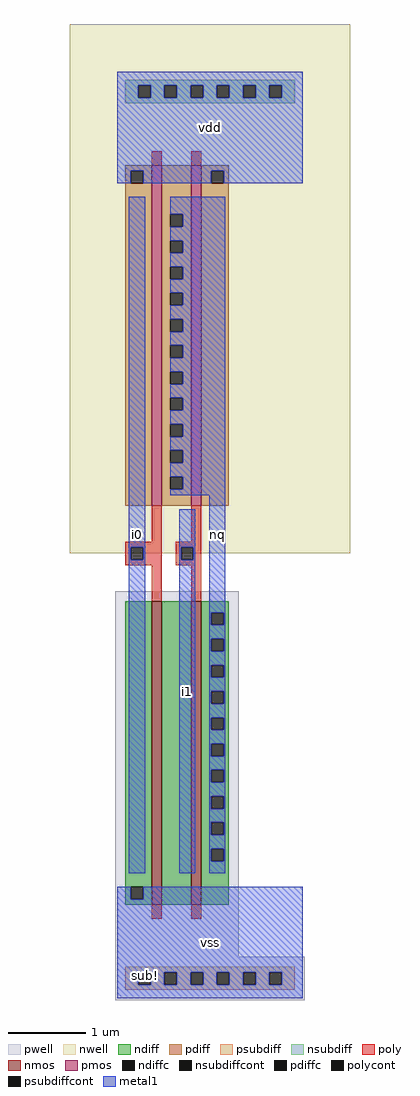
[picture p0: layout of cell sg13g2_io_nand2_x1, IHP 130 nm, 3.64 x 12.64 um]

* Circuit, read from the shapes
.subckt sg13g2_io_nand2_x1 vdd vss nq i0 i1
XM1 n1 i0 vss vss sg13_lv_nmos w=3.93u l=0.13u
XM2 nq i1 n1 vss sg13_lv_nmos w=3.93u l=0.13u
XM3 nq i0 vdd vdd sg13_lv_pmos w=4.41u l=0.13u
XM4 vdd i1 nq vdd sg13_lv_pmos w=4.41u l=0.13u
.ends

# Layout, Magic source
magic
tech ihp-sg13g2
magscale 1 2
<< nwell >>
rect -124 1152 604 2524
<< pwell >>
rect -5 107 315 1054
rect -5 -5 485 107
<< nmos >>
rect 89 242 115 1028
rect 191 242 217 1028
<< pmos >>
rect 89 1276 115 2158
rect 191 1276 217 2158
<< ndiff >>
rect 21 288 89 1028
rect 21 256 35 288
rect 67 256 89 288
rect 21 242 89 256
rect 115 242 191 1028
rect 217 999 289 1028
rect 217 967 243 999
rect 275 967 289 999
rect 217 931 289 967
rect 217 899 243 931
rect 275 899 289 931
rect 217 863 289 899
rect 217 831 243 863
rect 275 831 289 863
rect 217 795 289 831
rect 217 763 243 795
rect 275 763 289 795
rect 217 727 289 763
rect 217 695 243 727
rect 275 695 289 727
rect 217 659 289 695
rect 217 627 243 659
rect 275 627 289 659
rect 217 591 289 627
rect 217 559 243 591
rect 275 559 289 591
rect 217 523 289 559
rect 217 491 243 523
rect 275 491 289 523
rect 217 455 289 491
rect 217 423 243 455
rect 275 423 289 455
rect 217 387 289 423
rect 217 355 243 387
rect 275 355 289 387
rect 217 242 289 355
<< pdiff >>
rect 21 2144 89 2158
rect 21 2112 35 2144
rect 67 2112 89 2144
rect 21 1276 89 2112
rect 115 2031 191 2158
rect 115 1999 137 2031
rect 169 1999 191 2031
rect 115 1963 191 1999
rect 115 1931 137 1963
rect 169 1931 191 1963
rect 115 1895 191 1931
rect 115 1863 137 1895
rect 169 1863 191 1895
rect 115 1827 191 1863
rect 115 1795 137 1827
rect 169 1795 191 1827
rect 115 1759 191 1795
rect 115 1727 137 1759
rect 169 1727 191 1759
rect 115 1691 191 1727
rect 115 1659 137 1691
rect 169 1659 191 1691
rect 115 1623 191 1659
rect 115 1591 137 1623
rect 169 1591 191 1623
rect 115 1555 191 1591
rect 115 1523 137 1555
rect 169 1523 191 1555
rect 115 1487 191 1523
rect 115 1455 137 1487
rect 169 1455 191 1487
rect 115 1419 191 1455
rect 115 1387 137 1419
rect 169 1387 191 1419
rect 115 1351 191 1387
rect 115 1319 137 1351
rect 169 1319 191 1351
rect 115 1276 191 1319
rect 217 2144 289 2158
rect 217 2112 243 2144
rect 275 2112 289 2144
rect 217 1276 289 2112
<< ndiffc >>
rect 35 256 67 288
rect 243 967 275 999
rect 243 899 275 931
rect 243 831 275 863
rect 243 763 275 795
rect 243 695 275 727
rect 243 627 275 659
rect 243 559 275 591
rect 243 491 275 523
rect 243 423 275 455
rect 243 355 275 387
<< pdiffc >>
rect 35 2112 67 2144
rect 137 1999 169 2031
rect 137 1931 169 1963
rect 137 1863 169 1895
rect 137 1795 169 1827
rect 137 1727 169 1759
rect 137 1659 169 1691
rect 137 1591 169 1623
rect 137 1523 169 1555
rect 137 1455 169 1487
rect 137 1387 169 1419
rect 137 1319 169 1351
rect 243 2112 275 2144
<< psubdiff >>
rect 21 67 459 81
rect 21 35 54 67
rect 86 35 122 67
rect 154 35 190 67
rect 222 35 258 67
rect 290 35 326 67
rect 358 35 394 67
rect 426 35 459 67
rect 21 21 459 35
<< nsubdiff >>
rect 21 2365 459 2379
rect 21 2333 54 2365
rect 86 2333 122 2365
rect 154 2333 190 2365
rect 222 2333 258 2365
rect 290 2333 326 2365
rect 358 2333 394 2365
rect 426 2333 459 2365
rect 21 2319 459 2333
<< psubdiffcont >>
rect 54 35 86 67
rect 122 35 154 67
rect 190 35 222 67
rect 258 35 290 67
rect 326 35 358 67
rect 394 35 426 67
<< nsubdiffcont >>
rect 54 2333 86 2365
rect 122 2333 154 2365
rect 190 2333 222 2365
rect 258 2333 290 2365
rect 326 2333 358 2365
rect 394 2333 426 2365
<< poly >>
rect 89 2158 115 2194
rect 191 2158 217 2194
rect 89 1182 115 1276
rect 191 1182 217 1276
rect 21 1168 115 1182
rect 21 1136 35 1168
rect 67 1136 115 1168
rect 21 1122 115 1136
rect 151 1168 217 1182
rect 151 1136 165 1168
rect 197 1136 217 1168
rect 151 1122 217 1136
rect 89 1028 115 1122
rect 191 1028 217 1122
rect 89 206 115 242
rect 191 206 217 242
<< polycont >>
rect 35 1136 67 1168
rect 165 1136 197 1168
<< metal1 >>
rect 0 2365 480 2400
rect 0 2333 54 2365
rect 86 2333 122 2365
rect 154 2333 190 2365
rect 222 2333 258 2365
rect 290 2333 326 2365
rect 358 2333 394 2365
rect 426 2333 480 2365
rect 0 2144 480 2333
rect 0 2112 35 2144
rect 67 2112 243 2144
rect 275 2112 480 2144
rect 30 1168 72 2076
rect 137 2031 280 2076
rect 169 1999 280 2031
rect 137 1963 280 1999
rect 169 1931 280 1963
rect 137 1895 280 1931
rect 169 1863 280 1895
rect 137 1827 280 1863
rect 169 1795 280 1827
rect 137 1759 280 1795
rect 169 1727 280 1759
rect 137 1691 280 1727
rect 169 1659 280 1691
rect 137 1623 280 1659
rect 169 1591 280 1623
rect 137 1555 280 1591
rect 169 1523 280 1555
rect 137 1487 280 1523
rect 169 1455 280 1487
rect 137 1419 280 1455
rect 169 1387 280 1419
rect 137 1351 280 1387
rect 169 1319 280 1351
rect 137 1303 280 1319
rect 30 1136 35 1168
rect 67 1136 72 1168
rect 30 324 72 1136
rect 160 1168 202 1267
rect 160 1136 165 1168
rect 197 1136 202 1168
rect 160 324 202 1136
rect 238 999 280 1303
rect 238 967 243 999
rect 275 967 280 999
rect 238 931 280 967
rect 238 899 243 931
rect 275 899 280 931
rect 238 863 280 899
rect 238 831 243 863
rect 275 831 280 863
rect 238 795 280 831
rect 238 763 243 795
rect 275 763 280 795
rect 238 727 280 763
rect 238 695 243 727
rect 275 695 280 727
rect 238 659 280 695
rect 238 627 243 659
rect 275 627 280 659
rect 238 591 280 627
rect 238 559 243 591
rect 275 559 280 591
rect 238 523 280 559
rect 238 491 243 523
rect 275 491 280 523
rect 238 455 280 491
rect 238 423 243 455
rect 275 423 280 455
rect 238 387 280 423
rect 238 355 243 387
rect 275 355 280 387
rect 238 324 280 355
rect 0 256 35 288
rect 67 256 480 288
rect 0 67 480 256
rect 0 35 54 67
rect 86 35 122 67
rect 154 35 190 67
rect 222 35 258 67
rect 290 35 326 67
rect 358 35 394 67
rect 426 35 480 67
rect 0 0 480 35
<< labels >>
flabel metal1 s 238 324 280 2076 0 FreeSans 800 0 0 0 nq
port 3 nsew
flabel metal1 s 160 324 202 1267 0 FreeSans 800 0 0 0 i1
port 5 nsew
rlabel metal1 s 30 324 72 2076 4 i0
port 4 nsew
rlabel metal1 s 0 2112 480 2400 4 vdd
port 1 nsew
rlabel metal1 s 0 0 480 288 4 vss
port 2 nsew
flabel comment s 72 58 72 58 0 FreeSans 1600 0 0 0 sub!
<< properties >>
string device primitive
string GDS_END 22706678
string GDS_FILE sg13g2_io.gds
string GDS_START 22702576
<< end >>
